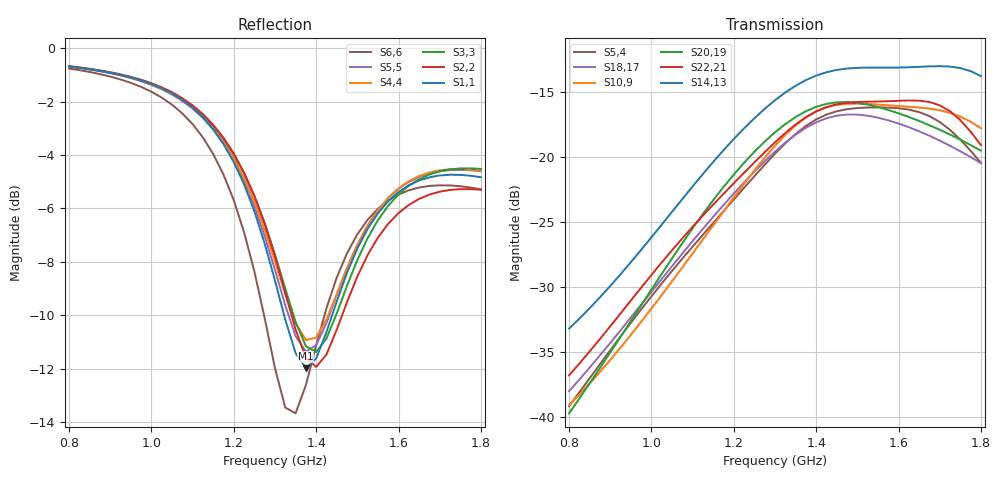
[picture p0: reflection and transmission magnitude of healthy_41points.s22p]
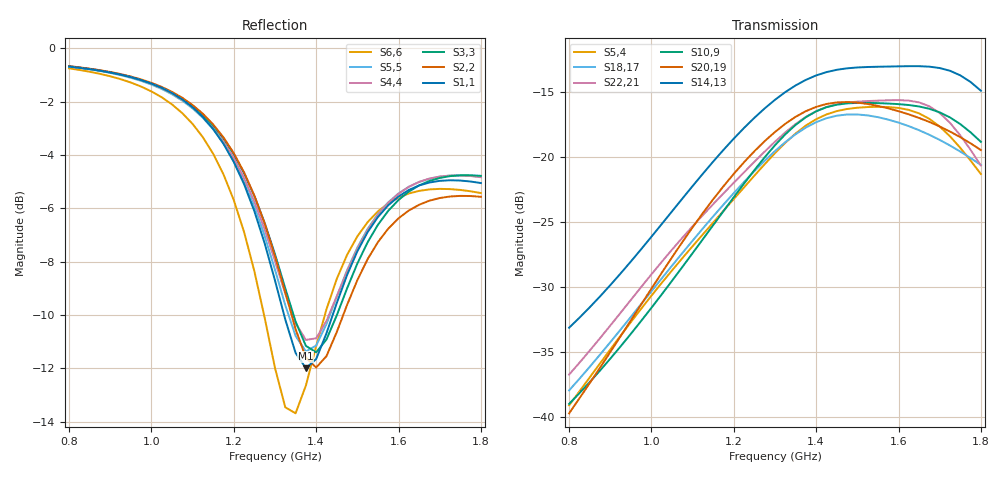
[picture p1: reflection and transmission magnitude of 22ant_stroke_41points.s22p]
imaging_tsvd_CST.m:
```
clear all
close all
clc

%% Load lib an OP
addpath('lib');
load('OP\CartesianOperator_MT-triu_half-brainDX_1G3.mat') 
figure
plotSV(Operator.Sc);

%% S-parameters Simulation CST

S0 = sparameters('healthy_41points.s22p');
S1 = sparameters('22ant_stroke_41points.s22p');

S0 = squeeze(S0.Parameters(:,:,21));
S1 = squeeze(S1.Parameters(:,:,21));


%%
useUpperTriu = true;
if ~useUpperTriu
    S0 = S0.';
    S1 = S1.';
end

I_triu = itriu(size(S0),1);

tri_S0= S0(I_triu);
tri_S1= S1(I_triu);

DifferenceTriu = tri_S1 - tri_S0;
DifferenceTriu_sqrt = zeros(size(S0));
DifferenceTriu_sqrt(I_triu) = DifferenceTriu;

delta_S = S0 - S1;
delta_S(logical(eye(size(delta_S)))) = 0;%removing diagonal

%% plot diff 22 x 22
data_plot = 20*log10(abs(delta_S));
figure
imagesc(data_plot)
colorbar
axis square
set(gca,'fontname','Times New Roman','fontSize',12)
% clim([-110  -55])


%% Preparing DifferenceQ
%QT = compQT2(freq*1e9,volVoxel);%we assume cubic voxels
%DifferenceQ = -DifferenceTriu/QT;

% Projection
dataProjection = ProjectionTriu(Operator,DifferenceTriu,-30);


%%
dataProjection_ext = NaN(numel(X),1);
dataProjection_ext(IND_brain) = dataProjection;
Matrix_dataProjection = reshape(dataProjection_ext,size(X));
nPixel = numel(X);
qx = reshape(X,[nPixel,1]);
qy = reshape(Y,[nPixel,1]);
qz = reshape(Z,[nPixel,1]);
qxyz = [qx,qy,qz];

% Smooting
% dataProjection = averageMeshData(dataProjection,qxyz);

data_Nmag = abs(Matrix_dataProjection)/max(abs(dataProjection));
data_dB = 20*log10(data_Nmag);
vq = data_dB;
%pos = [30 -40 20];

%%

seldB_plot = -3;%dB
[dataPlotStroke,xyz_stroke,pos] = selNdB(dataProjection_ext,qxyz,seldB_plot);
%xyz_mid_mm = xyz_mid*1000;
pos = round(pos);

% Ploting -3dB Data
dataPlotStroke_aux = formatData(dataPlotStroke,'db');
%xyz_stroke_mm = xyz_stroke*1000;

f0=figure;
scatter3(xyz_stroke(:,1),xyz_stroke(:,2),xyz_stroke(:,3),25,dataPlotStroke_aux,'filled');
clim([-15,0])%uncomment if dB

plotAuxiliar('brain')

%%
figure
slice(X, Y, Z, vq, [], pos(2), []); % Z-slice
xlabel('X (mm)');
ylabel('Y (mm)');
zlabel('Z (mm)');
shading flat
%shading interp;
colorbar;
clim([-25,0])
axis square
view([0 1 0])
%%
figure
slice(X, Y, Z, vq, [], [], pos(3)); % Z-slice
xlabel('X (mm)');
ylabel('Y (mm)');
zlabel('Z (mm)');
shading flat
%shading interp;
colorbar;
clim([-25,0])
axis square
view([0 0 1])
%%
figure
slice(X, Y, Z, vq, pos(1), [], []); % Z-slice
xlabel('X (mm)');
ylabel('Y (mm)');
zlabel('Z (mm)');
shading flat
%shading interp;
colorbar;
clim([-25,0])
axis square
view([1 0 0])
%%
if useUpperTriu == true
    save data1.mat dataProjection X Y Z qxyz
else
    save data2.mat dataProjection X Y Z qxyz
end
```
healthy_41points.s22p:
# GHz S RI R 50
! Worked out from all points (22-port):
!   41 points, 800 MHz to 1.8 GHz, reference 50 ohm
!   strongest paths, dB at 800 MHz, 1.05 GHz, 1.3 GHz, 1.55 GHz, 1.8 GHz:
!     S14,13: -33.2, -24.2, -15.6, -13.1, -13.8
!     S22,21: -36.8, -27.1, -18.9, -15.7, -19.1
!     S20,19: -39.7, -27.8, -18.1, -16.1, -19.5
!     S10,9: -39.1, -29.5, -19.1, -16.0, -17.8
!     S18,17: -38.0, -28.4, -19.6, -17.0, -20.5
!     S5,4: -39.1, -28.7, -19.7, -16.2, -20.4
!   lowest |S11| = -12.0 dB at 1.375 GHz (marker M1), VSWR 1.67, Z = 29.9 - j0.909 ohm
!   |S11| at or under -10 dB: 1.322 GHz to 1.439 GHz (116.5 MHz wide, 8.44 % of centre)
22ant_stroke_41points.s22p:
# GHz S RI R 50
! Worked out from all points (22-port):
!   41 points, 800 MHz to 1.8 GHz, reference 50 ohm
!   strongest paths, dB at 800 MHz, 1.05 GHz, 1.3 GHz, 1.55 GHz, 1.8 GHz:
!     S14,13: -33.2, -24.2, -15.6, -13.1, -14.9
!     S20,19: -39.7, -27.7, -18.1, -16.1, -19.5
!     S10,9: -39.0, -29.5, -19.1, -15.9, -18.9
!     S22,21: -36.8, -27.1, -18.8, -15.7, -20.7
!     S18,17: -38.0, -28.4, -19.6, -17.0, -20.6
!     S5,4: -39.1, -28.7, -19.7, -16.2, -21.3
!   lowest |S11| = -12.0 dB at 1.375 GHz (marker M1), VSWR 1.67, Z = 29.9 - j0.934 ohm
!   |S11| at or under -10 dB: 1.322 GHz to 1.44 GHz (118.2 MHz wide, 8.56 % of centre)
